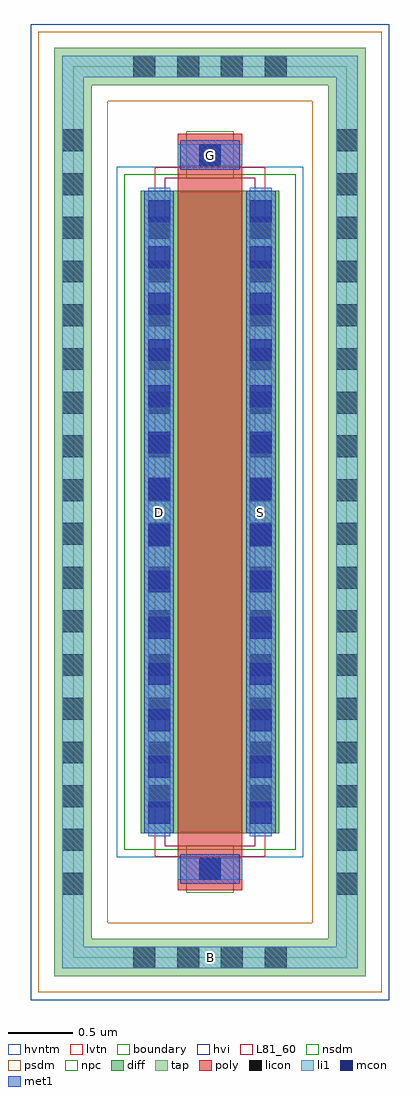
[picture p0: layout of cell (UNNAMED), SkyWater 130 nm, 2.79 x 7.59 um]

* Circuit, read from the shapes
.subckt (UNNAMED) B D G S
XM1 S G D B sky130_fd_pr__nfet_05v0_nvt w=5 l=0.5
.ends

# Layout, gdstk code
import gdstk
lib = gdstk.Library(unit=1e-6, precision=1e-09)
def R(c, l, rs):  # rectangles x0, y0, x1, y1
    for r in rs: c.add(gdstk.rectangle(r[:2], r[2:], *l))
def A(c, l, x, y, w, h, nx, ny, dx, dy):  # array of equal rectangles
    R(c, l, [(x+i*dx, y+j*dy, x+i*dx+w, y+j*dy+h) for i in range(nx) for j in range(ny)])
diff = (65, 20)
tap = (65, 44)
poly = (66, 20)
licon = (66, 44)
li1 = (67, 20)
mcon = (67, 44)
met1 = (68, 20)
hvi = (75, 20)
L81_60 = (81, 60)
nsdm = (93, 44)
psdm = (94, 20)
npc = (95, 20)
hvntm = (125, 20)
lvtn = (125, 44)
boundary = (235, 4)

c__unnamed_ = lib.new_cell('(UNNAMED)')
R(c__unnamed_, diff, [(-0.54,-2.5,0.54,2.5)])
R(c__unnamed_, tap, [(-1.21,-3.61,1.21,-3.32), (-1.21,-3.32,-0.92,3.32), (0.92,-3.32,1.21,3.32), (-1.21,3.32,1.21,3.61)])
R(c__unnamed_, poly, [(-0.25,-2.94,0.25,2.94)])
A(c__unnamed_, licon, -0.595, -3.55, 0.17, 0.17, 4, 2, 0.34, 6.93)
A(c__unnamed_, licon, -1.15, -2.975, 0.17, 0.17, 1, 18, 0, 0.34)
A(c__unnamed_, licon, 0.98, -2.975, 0.17, 0.17, 1, 18, 0, 0.34)
A(c__unnamed_, licon, -0.48, -2.295, 0.17, 0.17, 1, 14, 0, 0.34)
A(c__unnamed_, licon, 0.31, -2.295, 0.17, 0.17, 1, 14, 0, 0.34)
R(c__unnamed_, licon, [(-0.085,-2.86,0.085,-2.69), (-0.085,2.69,0.085,2.86)])
R(c__unnamed_, li1, [(-1.15,-3.55,1.15,-3.38), (-1.15,-3.38,-0.98,3.38), (0.98,-3.38,1.15,3.38), (-0.25,-2.86,0.25,-2.69), (-0.48,-2.52,-0.31,2.52), (0.31,-2.52,0.48,2.52), (-0.25,2.69,0.25,2.86), (-1.15,3.38,1.15,3.55)])
A(c__unnamed_, mcon, -0.48, -2.425, 0.17, 0.17, 1, 14, 0, 0.36)
A(c__unnamed_, mcon, 0.31, -2.425, 0.17, 0.17, 1, 14, 0, 0.36)
R(c__unnamed_, mcon, [(-0.085,-2.86,0.085,-2.69), (-0.085,2.69,0.085,2.86)])
R(c__unnamed_, met1, [(-0.23,-2.89,0.23,-2.66), (-0.51,-2.5,-0.28,2.5), (0.28,-2.5,0.51,2.5), (-0.23,2.66,0.23,2.89)])
R(c__unnamed_, hvi, [(-1.395,-3.795,1.395,3.795)])
R(c__unnamed_, L81_60, [(-0.35,-2.6,0.35,2.6)])
R(c__unnamed_, nsdm, [(-0.665,-2.625,0.665,2.625)])
R(c__unnamed_, psdm, [(-1.335,-3.735,1.335,-3.195), (-1.335,-3.195,-0.795,3.195), (0.795,-3.195,1.335,3.195), (-1.335,3.195,1.335,3.735)])
R(c__unnamed_, npc, [(-0.185,-2.96,0.185,-2.59), (-0.185,2.59,0.185,2.96)])
R(c__unnamed_, hvntm, [(-0.725,-2.685,0.725,2.685)])
R(c__unnamed_, lvtn, [(-0.43,-2.68,0.43,2.68)])
R(c__unnamed_, boundary, [(-1.065,-3.465,1.065,3.465)])
c__unnamed_.add(gdstk.Label('B', (0,-3.465), layer=67, texttype=5))
c__unnamed_.add(gdstk.Label('D', (-0.395,0), layer=67, texttype=5))
c__unnamed_.add(gdstk.Label('S', (0.395,0), layer=67, texttype=5))
c__unnamed_.add(gdstk.Label('G', (0,2.775), layer=67, texttype=5))

lib.write_gds('_UNNAMED_.gds')
